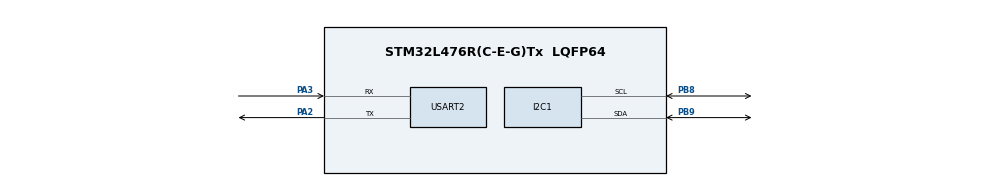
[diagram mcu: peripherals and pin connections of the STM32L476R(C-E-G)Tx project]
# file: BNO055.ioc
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Dma.I2C1_RX.0.Direction=DMA_PERIPH_TO_MEMORY
Dma.I2C1_RX.0.Instance=DMA1_Channel7
Dma.I2C1_RX.0.MemDataAlignment=DMA_MDATAALIGN_BYTE
Dma.I2C1_RX.0.MemInc=DMA_MINC_ENABLE
Dma.I2C1_RX.0.Mode=DMA_NORMAL
Dma.I2C1_RX.0.PeriphDataAlignment=DMA_PDATAALIGN_BYTE
Dma.I2C1_RX.0.PeriphInc=DMA_PINC_DISABLE
Dma.I2C1_RX.0.Priority=DMA_PRIORITY_LOW
Dma.I2C1_TX.1.Direction=DMA_MEMORY_TO_PERIPH
Dma.I2C1_TX.1.Instance=DMA1_Channel6
Dma.I2C1_TX.1.MemDataAlignment=DMA_MDATAALIGN_BYTE
Dma.I2C1_TX.1.MemInc=DMA_MINC_ENABLE
Dma.I2C1_TX.1.Mode=DMA_NORMAL
Dma.I2C1_TX.1.PeriphDataAlignment=DMA_PDATAALIGN_BYTE
Dma.I2C1_TX.1.PeriphInc=DMA_PINC_DISABLE
Dma.I2C1_TX.1.Priority=DMA_PRIORITY_LOW
Dma.Request0=I2C1_RX
Dma.Request1=I2C1_TX
Mcu.Family=STM32L4
Mcu.Name=STM32L476R(C-E-G)Tx
Mcu.Package=LQFP64
NVIC.DMA1_Channel6_IRQn=true\:0\:0\:false\:false\:true\:false\:true
NVIC.DMA1_Channel7_IRQn=true\:0\:0\:false\:false\:true\:false\:true
NVIC.PriorityGroup=NVIC_PRIORITYGROUP_4
PA2.Mode=Asynchronous
PA2.Signal=USART2_TX
PA3.Mode=Asynchronous
PA3.Signal=USART2_RX
PB8.Mode=I2C
PB8.Signal=I2C1_SCL
PB9.Mode=I2C
PB9.Signal=I2C1_SDA
ProjectManager.HeapSize=0x200
ProjectManager.StackSize=0x400
ProjectManager.TargetToolchain=SW4STM32
RCC.HSE_VALUE=8000000
RCC.HSI_VALUE=16000000
RCC.LSE_VALUE=32768
RCC.MSI_VALUE=4000000
RCC.VCOOutputFreq_Value=32000000
USART2.VirtualMode-Asynchronous=VM_ASYNC
board=custom

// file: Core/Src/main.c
/* USER CODE BEGIN Header */
/**
  ******************************************************************************
  * @file           : main.c
  * @brief          : Main program body
  ******************************************************************************
  * @attention
  *
  * <h2><center>&copy; Copyright (c) 2021 STMicroelectronics.
  * All rights reserved.</center></h2>
  *
  * This software component is licensed by ST under BSD 3-Clause license,
  * the "License"; You may not use this file except in compliance with the
  * License. You may obtain a copy of the License at:
  *                        opensource.org/licenses/BSD-3-Clause
  *
  ******************************************************************************
  */
/* USER CODE END Header */
#include "main.h"

/* USER CODE BEGIN Includes */
#include "accel.h"
#include <stdio.h>
#include <string.h>
/* USER CODE END Includes */

I2C_HandleTypeDef hi2c1;
DMA_HandleTypeDef hdma_i2c1_rx;
DMA_HandleTypeDef hdma_i2c1_tx;

UART_HandleTypeDef huart2;

void SystemClock_Config(void);
static void MX_GPIO_Init(void);
static void MX_DMA_Init(void);
static void MX_I2C1_Init(void);
static void MX_USART2_UART_Init(void);

int main(void)
{
  /* USER CODE BEGIN 1 */
	uint8_t		imu_readings[IMU_NUMBER_OF_BYTES]={0};
	int16_t 	accel_data[3];
	float		acc_x, acc_y, acc_z;

  /* USER CODE END 1 */

  /* MCU Configuration--------------------------------------------------------*/

  /* Reset of all peripherals, Initializes the Flash interface and the Systick. */
  HAL_Init();

  /* Configure the system clock */
  SystemClock_Config();

  /* Initialize all configured peripherals */
  MX_GPIO_Init();
  MX_DMA_Init();
  MX_I2C1_Init();
  MX_USART2_UART_Init();
  /* USER CODE BEGIN 2 */
  BNO055_Init_I2C(&hi2c1);
  /* USER CODE END 2 */

  /* Infinite loop */
  /* USER CODE BEGIN WHILE */
  unsigned char address = 0x28;
  	//BNO055 bno055(hi2c1,address);
  	//QUATERNION q;
  	//EULAR e;
  	char sprintbuff[64] = "";
  	unsigned char uartbuff[64];

  while (1)
  {
	  HAL_Delay(600);
	  GetAccelData(&hi2c1, (uint8_t*)imu_readings);
	  accel_data[0] = (((int16_t)((uint8_t *)(imu_readings))[1] << 8) | ((uint8_t *)(imu_readings))[0]);      // Turn the MSB and LSB into a signed 16-bit value
	  accel_data[1] = (((int16_t)((uint8_t *)(imu_readings))[3] << 8) | ((uint8_t *)(imu_readings))[2]);
	  accel_data[2] = (((int16_t)((uint8_t *)(imu_readings))[5] << 8) | ((uint8_t *)(imu_readings))[4]);
	  acc_x = ((float)(accel_data[0]))/100.0f; //m/s2
	  acc_y = ((float)(accel_data[1]))/100.0f;
	  acc_z = ((float)(accel_data[2]))/100.0f;
	  //printf("X: %.2f Y: %.2f Z: %.2f\r\n", acc_x, acc_y, acc_z);
	  //e = bno055.get_eular();//radian
	  sprintf(sprintbuff,"%.2f,%.2f,%.2f\n\r",acc_x, acc_y,acc_z);
	  memcpy(uartbuff,sprintbuff,sizeof(sprintbuff));
	  HAL_UART_Transmit(&huart2,uartbuff,sizeof(uartbuff),1000);

    /* USER CODE END WHILE */

  }
}

void SystemClock_Config(void)
{
  RCC_OscInitTypeDef RCC_OscInitStruct = {0};
  RCC_ClkInitTypeDef RCC_ClkInitStruct = {0};
  RCC_PeriphCLKInitTypeDef PeriphClkInit = {0};

  /** Initializes the RCC Oscillators according to the specified parameters
  * in the RCC_OscInitTypeDef structure.
  */
  RCC_OscInitStruct.OscillatorType = RCC_OSCILLATORTYPE_MSI;
  RCC_OscInitStruct.MSIState = RCC_MSI_ON;
  RCC_OscInitStruct.MSICalibrationValue = 0;
  RCC_OscInitStruct.MSIClockRange = RCC_MSIRANGE_6;
  RCC_OscInitStruct.PLL.PLLState = RCC_PLL_NONE;
  if (HAL_RCC_OscConfig(&RCC_OscInitStruct) != HAL_OK)
  {
    Error_Handler();
  }
  /** Initializes the CPU, AHB and APB buses clocks
  */
  RCC_ClkInitStruct.ClockType = RCC_CLOCKTYPE_HCLK|RCC_CLOCKTYPE_SYSCLK
                              |RCC_CLOCKTYPE_PCLK1|RCC_CLOCKTYPE_PCLK2;
  RCC_ClkInitStruct.SYSCLKSource = RCC_SYSCLKSOURCE_MSI;
  RCC_ClkInitStruct.AHBCLKDivider = RCC_SYSCLK_DIV1;
  RCC_ClkInitStruct.APB1CLKDivider = RCC_HCLK_DIV1;
  RCC_ClkInitStruct.APB2CLKDivider = RCC_HCLK_DIV1;

  if (HAL_RCC_ClockConfig(&RCC_ClkInitStruct, FLASH_LATENCY_0) != HAL_OK)
  {
    Error_Handler();
  }
  PeriphClkInit.PeriphClockSelection = RCC_PERIPHCLK_USART2|RCC_PERIPHCLK_I2C1;
  PeriphClkInit.Usart2ClockSelection = RCC_USART2CLKSOURCE_PCLK1;
  PeriphClkInit.I2c1ClockSelection = RCC_I2C1CLKSOURCE_PCLK1;
  if (HAL_RCCEx_PeriphCLKConfig(&PeriphClkInit) != HAL_OK)
  {
    Error_Handler();
  }
  /** Configure the main internal regulator output voltage
  */
  if (HAL_PWREx_ControlVoltageScaling(PWR_REGULATOR_VOLTAGE_SCALE1) != HAL_OK)
  {
    Error_Handler();
  }
}

static void MX_I2C1_Init(void)
{

  hi2c1.Instance = I2C1;
  hi2c1.Init.Timing = 0x00000E14;
  hi2c1.Init.OwnAddress1 = 0;
  hi2c1.Init.AddressingMode = I2C_ADDRESSINGMODE_7BIT;
  hi2c1.Init.DualAddressMode = I2C_DUALADDRESS_DISABLE;
  hi2c1.Init.OwnAddress2 = 0;
  hi2c1.Init.OwnAddress2Masks = I2C_OA2_NOMASK;
  hi2c1.Init.GeneralCallMode = I2C_GENERALCALL_DISABLE;
  hi2c1.Init.NoStretchMode = I2C_NOSTRETCH_DISABLE;
  if (HAL_I2C_Init(&hi2c1) != HAL_OK)
  {
    Error_Handler();
  }
  /** Configure Analogue filter
  */
  if (HAL_I2CEx_ConfigAnalogFilter(&hi2c1, I2C_ANALOGFILTER_ENABLE) != HAL_OK)
  {
    Error_Handler();
  }
  /** Configure Digital filter
  */
  if (HAL_I2CEx_ConfigDigitalFilter(&hi2c1, 0) != HAL_OK)
  {
    Error_Handler();
  }

}

static void MX_USART2_UART_Init(void)
{

  huart2.Instance = USART2;
  huart2.Init.BaudRate = 115200;
  huart2.Init.WordLength = UART_WORDLENGTH_8B;
  huart2.Init.StopBits = UART_STOPBITS_1;
  huart2.Init.Parity = UART_PARITY_NONE;
  huart2.Init.Mode = UART_MODE_TX_RX;
  huart2.Init.HwFlowCtl = UART_HWCONTROL_NONE;
  huart2.Init.OverSampling = UART_OVERSAMPLING_16;
  huart2.Init.OneBitSampling = UART_ONE_BIT_SAMPLE_DISABLE;
  huart2.AdvancedInit.AdvFeatureInit = UART_ADVFEATURE_NO_INIT;
  if (HAL_UART_Init(&huart2) != HAL_OK)
  {
    Error_Handler();
  }

}

static void MX_DMA_Init(void)
{

  /* DMA controller clock enable */
  __HAL_RCC_DMA1_CLK_ENABLE();

  /* DMA interrupt init */
  /* DMA1_Channel6_IRQn interrupt configuration */
  HAL_NVIC_SetPriority(DMA1_Channel6_IRQn, 0, 0);
  HAL_NVIC_EnableIRQ(DMA1_Channel6_IRQn);
  /* DMA1_Channel7_IRQn interrupt configuration */
  HAL_NVIC_SetPriority(DMA1_Channel7_IRQn, 0, 0);
  HAL_NVIC_EnableIRQ(DMA1_Channel7_IRQn);

}

static void MX_GPIO_Init(void)
{

  /* GPIO Ports Clock Enable */
  __HAL_RCC_GPIOA_CLK_ENABLE();
  __HAL_RCC_GPIOB_CLK_ENABLE();

}

void Error_Handler(void)
{
  __disable_irq();
  while (1)
  {
  }
}

/************************ (C) COPYRIGHT STMicroelectronics *****END OF FILE****/
